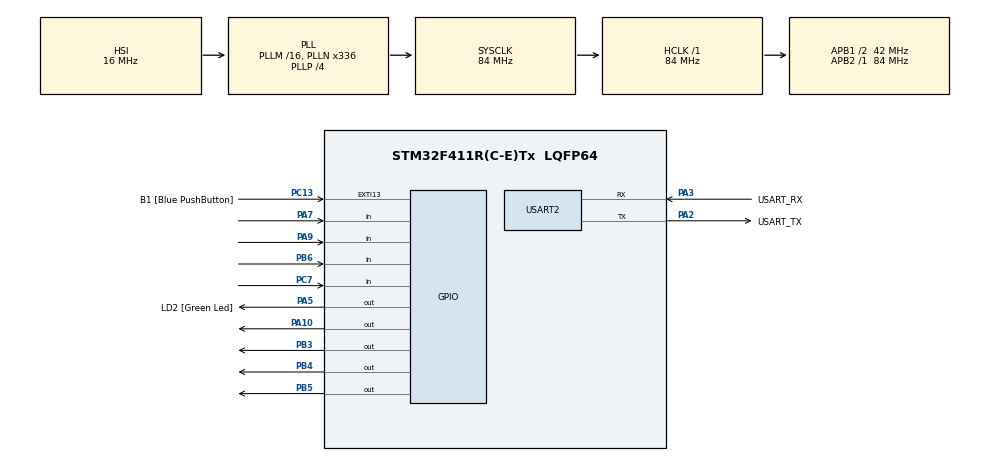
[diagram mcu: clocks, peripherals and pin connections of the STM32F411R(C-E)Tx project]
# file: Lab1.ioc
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Mcu.Family=STM32F4
Mcu.Name=STM32F411R(C-E)Tx
Mcu.Package=LQFP64
NVIC.PriorityGroup=NVIC_PRIORITYGROUP_0
PA10.Signal=GPIO_Output
PA13.GPIO_Label=TMS
PA13.Mode=Serial_Wire
PA13.Signal=SYS_JTMS-SWDIO
PA14.GPIO_Label=TCK
PA14.Mode=Serial_Wire
PA14.Signal=SYS_JTCK-SWCLK
PA2.GPIO_Label=USART_TX
PA2.Mode=Asynchronous
PA2.Signal=USART2_TX
PA3.GPIO_Label=USART_RX
PA3.Mode=Asynchronous
PA3.Signal=USART2_RX
PA5.GPIO_Label=LD2 [Green Led]
PA5.Signal=GPIO_Output
PA7.GPIO_PuPd=GPIO_PULLUP
PA7.Signal=GPIO_Input
PA9.GPIO_PuPd=GPIO_PULLUP
PA9.Signal=GPIO_Input
PB3.Signal=GPIO_Output
PB4.Signal=GPIO_Output
PB5.Signal=GPIO_Output
PB6.GPIO_PuPd=GPIO_PULLUP
PB6.Signal=GPIO_Input
PC13-ANTI_TAMP.GPIO_Label=B1 [Blue PushButton]
PC13-ANTI_TAMP.GPIO_ModeDefaultEXTI=GPIO_MODE_IT_FALLING
PC13-ANTI_TAMP.Signal=GPXTI13
PC14-OSC32_IN.Mode=LSE-External-Oscillator
PC14-OSC32_IN.Signal=RCC_OSC32_IN
PC15-OSC32_OUT.Mode=LSE-External-Oscillator
PC15-OSC32_OUT.Signal=RCC_OSC32_OUT
PC7.GPIO_PuPd=GPIO_PULLUP
PC7.Signal=GPIO_Input
PH0\ -\ OSC_IN.Mode=HSE-External-Clock-Source
PH0\ -\ OSC_IN.Signal=RCC_OSC_IN
PH1\ -\ OSC_OUT.Mode=HSE-External-Clock-Source
PH1\ -\ OSC_OUT.Signal=RCC_OSC_OUT
ProjectManager.HeapSize=0x200
ProjectManager.StackSize=0x400
ProjectManager.TargetToolchain=STM32CubeIDE
RCC.48MHZClocksFreq_Value=84000000
RCC.AHBFreq_Value=84000000
RCC.APB1CLKDivider=RCC_HCLK_DIV2
RCC.APB1Freq_Value=42000000
RCC.APB1TimFreq_Value=84000000
RCC.APB2Freq_Value=84000000
RCC.APB2TimFreq_Value=84000000
RCC.CortexFreq_Value=84000000
RCC.FLatency-AdvancedSettings=FLASH_LATENCY_2
RCC.HCLKFreq_Value=84000000
RCC.HSE_VALUE=8000000
RCC.HSI_VALUE=16000000
RCC.PLLN=336
RCC.PLLP=RCC_PLLP_DIV4
RCC.SYSCLKFreq_VALUE=84000000
RCC.SYSCLKSource=RCC_SYSCLKSOURCE_PLLCLK
RCC.VCOOutputFreq_Value=336000000
USART2.VirtualMode=VM_ASYNC
board=NUCLEO-F411RE

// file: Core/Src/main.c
/* USER CODE BEGIN Header */
/**
 ******************************************************************************
 * @file           : main.c
 * @brief          : Main program body
 ******************************************************************************
 Expand
 message.txt
 16 KB
 ﻿
 643405000XX#7985
 �?�
 /* USER CODE BEGIN Header */
/**
 ******************************************************************************
 * @file           : main.c
 * @brief          : Main program body
 ******************************************************************************
 * @attention
 *
 * Copyright (c) 2023 STMicroelectronics.
 * All rights reserved.
 *
 * This software is licensed under terms that can be found in the LICENSE file
 * in the root directory of this software component.
 * If no LICENSE file comes with this software, it is provided AS-IS.
 *
 ******************************************************************************
 */
/* USER CODE END Header */
#include "main.h"

UART_HandleTypeDef huart2;

/* USER CODE BEGIN PV */
typedef struct _PortPin {
	GPIO_TypeDef *PORT;
	uint16_t PIN;
} PortPin;

//declare PortPin R,L
PortPin R[4] = { { GPIOA, GPIO_PIN_10 }, { GPIOB, GPIO_PIN_3 }, { GPIOB,
		GPIO_PIN_5 }, { GPIOB, GPIO_PIN_4 } };

PortPin L[4] = { { GPIOA, GPIO_PIN_9 }, { GPIOC, GPIO_PIN_7 }, { GPIOB,
		GPIO_PIN_6 }, { GPIOA, GPIO_PIN_7 } };

uint16_t ButtonMatrix = 0;
uint16_t ButtonMatrix_L = 0;
int flag = 0;
int state = 0, state_L = 0;
/* USER CODE END PV */

void SystemClock_Config(void);
static void MX_GPIO_Init(void);
static void MX_USART2_UART_Init(void);
/* USER CODE BEGIN PFP */
void ReadMatrixButton_1Row();
/* USER CODE END PFP */

int main(void) {

	/* MCU Configuration--------------------------------------------------------*/

	/* Reset of all peripherals, Initializes the Flash interface and the Systick. */
	HAL_Init();

	/* Configure the system clock */
	SystemClock_Config();

	/* Initialize all configured peripherals */
	MX_GPIO_Init();
	MX_USART2_UART_Init();

	/* Infinite loop */
	while (1) {

		/* USER CODE BEGIN 3 */

		//rising edge
		if (ButtonMatrix_L == 0 && ButtonMatrix != 0) {
			flag = 1;
		} else {
			flag = 0;
		}
		ButtonMatrix_L = ButtonMatrix;

		switch (state) {
		case 0:
			HAL_GPIO_WritePin(GPIOA, GPIO_PIN_5, 0); //LEDoff
			if (flag) {
				if (ButtonMatrix == 512) {//6
					state = 1;
				}
				else if (ButtonMatrix == 4096) {//clear
					state = 0;
				}
				else if (ButtonMatrix == 8192) { //backspace
					state = 0;
				}
				else if (ButtonMatrix != 0 && ButtonMatrix != 32768
						&& ButtonMatrix != 128 && ButtonMatrix != 2048
						&& ButtonMatrix != 16384) {
					state = 12;
				}
				state_L = 0;
			}
			break;
		case 1:
			if (flag) {
				if (ButtonMatrix == 2) {//4
					state = 2;
				}
				else if (ButtonMatrix == 4096) {//clear
					state = 0;
				}
				else if (ButtonMatrix == 8192) {//backspace
					state = 0;
				}
				else if (ButtonMatrix != 0 && ButtonMatrix != 32768
						&& ButtonMatrix != 128 && ButtonMatrix != 2048
						&& ButtonMatrix != 16384) {
					state = 12;
				}
				state_L = 1;
			}
			break;
		case 2:
			if (flag) {
				if (ButtonMatrix == 1024) {//3
					state = 3;
				}
				else if (ButtonMatrix == 4096) { //clear
					state = 0;
				}
				else if (ButtonMatrix == 8192) {//backspace
					state = 1;
				}
				else if (ButtonMatrix != 0 && ButtonMatrix != 32768
						&& ButtonMatrix != 128 && ButtonMatrix != 2048
						&& ButtonMatrix != 16384) {
					state = 12;
				}
				state_L = 2;
			}
			break;
		case 3:
			if (flag) {
				if (ButtonMatrix == 2) {//4
					state = 4;
				}
				else if (ButtonMatrix == 4096) {//clear
					state = 0;
				}
				else if (ButtonMatrix == 8192) {//backspace
					state = 2;
				}
				else if (ButtonMatrix != 0 && ButtonMatrix != 32768
						&& ButtonMatrix != 128 && ButtonMatrix != 2048
						&& ButtonMatrix != 16384) {
					state = 12;
				}
				state_L = 3;
			}
			break;
		case 4:
			if (flag) {
				if (ButtonMatrix == 8) {//0
					state = 5;
				}
				else if (ButtonMatrix == 4096) {//clear
					state = 0;
				}
				else if (ButtonMatrix == 8192) { //backspace
					state = 3;
				}
				else if (ButtonMatrix != 0 && ButtonMatrix != 32768
						&& ButtonMatrix != 128 && ButtonMatrix != 2048
						&& ButtonMatrix != 16384) {
					state = 12;
				}
				state_L = 4;
			}
			break;
		case 5:
			if (flag) {
				if (ButtonMatrix == 32) {//5
					state = 6;
				}
				else if (ButtonMatrix == 4096) {//clear
					state = 0;
				}
				else if (ButtonMatrix == 8192) {//backspace
					state = 4;
				}
				else if (ButtonMatrix != 0 && ButtonMatrix != 32768
						&& ButtonMatrix != 128 && ButtonMatrix != 2048
						&& ButtonMatrix != 16384) {
					state = 12;
				}
				state_L = 5;
			}
			break;
		case 6:
			if (flag) {
				if (ButtonMatrix == 8) {//0
					state = 7;
				}
				else if (ButtonMatrix == 4096) { //clear
					state = 0;
				}
				else if (ButtonMatrix == 8192) {//backspace
					state = 5;
				}
				else if (ButtonMatrix != 0 && ButtonMatrix != 32768
						&& ButtonMatrix != 128 && ButtonMatrix != 2048
						&& ButtonMatrix != 16384) {
					state = 12;
				}
				state_L = 6;
			}
			break;
		case 7:
			if (flag) {
				if (ButtonMatrix == 8) {//0
					state = 8;
				}
				else if (ButtonMatrix == 4096) {//clear
					state = 0;
				}
				else if (ButtonMatrix == 8192) {//backspace
					state = 6;
				}
				else if (ButtonMatrix != 0 && ButtonMatrix != 32768
						&& ButtonMatrix != 128 && ButtonMatrix != 2048
						&& ButtonMatrix != 16384) {
					state = 12;
				}
				state_L = 7;
			}
			break;
		case 8:
			if (flag) {
				if (ButtonMatrix == 8) {//0
					state = 9;
				}
				else if (ButtonMatrix == 4096) {//clear
					state = 0;
				}
				else if (ButtonMatrix == 8192) {//backspace
					state = 7;
				}
				else if (ButtonMatrix != 0 && ButtonMatrix != 32768
						&& ButtonMatrix != 128 && ButtonMatrix != 2048
						&& ButtonMatrix != 16384) {
					state = 12;
				}
				state_L = 8;
			}
			break;
		case 9:
			if (flag) {
				if (ButtonMatrix == 64) {//2
					state = 10;
				}
				else if (ButtonMatrix == 4096) {//clear
					state = 0;
				}
				else if (ButtonMatrix == 8192) {//backspace
					state = 8;
				}
				else if (ButtonMatrix != 0 && ButtonMatrix != 32768
						&& ButtonMatrix != 128 && ButtonMatrix != 2048
						&& ButtonMatrix != 16384) {
					state = 12;
				}
				state_L = 9;
			}
			break;
		case 10:
			if (flag) {
				if (ButtonMatrix == 512) {//6
					state = 11;
				}
				else if (ButtonMatrix == 4096) {//clear
					state = 0;
				}
				else if (ButtonMatrix == 8192) {//backspace
					state = 9;
				}
				else if (ButtonMatrix != 0 && ButtonMatrix != 32768
						&& ButtonMatrix != 128 && ButtonMatrix != 2048
						&& ButtonMatrix != 16384) {
					state = 12;
				}
				state_L = 10;
			}
			break;
		case 11:
			if (flag) {
				if (ButtonMatrix == 32768) { //ok
					HAL_GPIO_WritePin(GPIOA, GPIO_PIN_5, 1); //LEDon
				} else if (ButtonMatrix == 4096) { //clear
					state = 0;
					HAL_GPIO_WritePin(GPIOA, GPIO_PIN_5, 0); //LEDoff
				} else if (ButtonMatrix == 8192) {
					state = 10; //backspace
					HAL_GPIO_WritePin(GPIOA, GPIO_PIN_5, 0);//LEDoff
				}
				else if (ButtonMatrix != 0 && ButtonMatrix != 32768
						&& ButtonMatrix != 128 && ButtonMatrix != 2048
						&& ButtonMatrix != 16384) {
					state = 12;
				}
				state_L = 11;
			}
			break;
		case 12:
			if (flag) {//wrong number
				if (ButtonMatrix == 4096) { //clear
					HAL_GPIO_WritePin(GPIOA, GPIO_PIN_5, 0); //LED1 off
					state = 0;
				} else if (ButtonMatrix == 8192) { //backspace
					state = state_L; //back to previous state
				}
			}
			break;
		}

		static uint32_t timestamp = 0;
		if (HAL_GetTick() >= timestamp) {
			timestamp = HAL_GetTick() + 100;
			ReadMatrixButton_1Row();
		}

	}
	/* USER CODE END 3 */
}

void SystemClock_Config(void) {
	RCC_OscInitTypeDef RCC_OscInitStruct = { 0 };
	RCC_ClkInitTypeDef RCC_ClkInitStruct = { 0 };

	/** Configure the main internal regulator output voltage
	 */
	__HAL_RCC_PWR_CLK_ENABLE();
	__HAL_PWR_VOLTAGESCALING_CONFIG(PWR_REGULATOR_VOLTAGE_SCALE1);

	/** Initializes the RCC Oscillators according to the specified parameters
	 * in the RCC_OscInitTypeDef structure.
	 */
	RCC_OscInitStruct.OscillatorType = RCC_OSCILLATORTYPE_HSI;
	RCC_OscInitStruct.HSIState = RCC_HSI_ON;
	RCC_OscInitStruct.HSICalibrationValue = RCC_HSICALIBRATION_DEFAULT;
	RCC_OscInitStruct.PLL.PLLState = RCC_PLL_ON;
	RCC_OscInitStruct.PLL.PLLSource = RCC_PLLSOURCE_HSI;
	RCC_OscInitStruct.PLL.PLLM = 16;
	RCC_OscInitStruct.PLL.PLLN = 336;
	RCC_OscInitStruct.PLL.PLLP = RCC_PLLP_DIV4;
	RCC_OscInitStruct.PLL.PLLQ = 4;
	if (HAL_RCC_OscConfig(&RCC_OscInitStruct) != HAL_OK) {
		Error_Handler();
	}

	/** Initializes the CPU, AHB and APB buses clocks
	 */
	RCC_ClkInitStruct.ClockType = RCC_CLOCKTYPE_HCLK | RCC_CLOCKTYPE_SYSCLK
			| RCC_CLOCKTYPE_PCLK1 | RCC_CLOCKTYPE_PCLK2;
	RCC_ClkInitStruct.SYSCLKSource = RCC_SYSCLKSOURCE_PLLCLK;
	RCC_ClkInitStruct.AHBCLKDivider = RCC_SYSCLK_DIV1;
	RCC_ClkInitStruct.APB1CLKDivider = RCC_HCLK_DIV2;
	RCC_ClkInitStruct.APB2CLKDivider = RCC_HCLK_DIV1;

	if (HAL_RCC_ClockConfig(&RCC_ClkInitStruct, FLASH_LATENCY_2) != HAL_OK) {
		Error_Handler();
	}
}

static void MX_USART2_UART_Init(void) {

	huart2.Instance = USART2;
	huart2.Init.BaudRate = 115200;
	huart2.Init.WordLength = UART_WORDLENGTH_8B;
	huart2.Init.StopBits = UART_STOPBITS_1;
	huart2.Init.Parity = UART_PARITY_NONE;
	huart2.Init.Mode = UART_MODE_TX_RX;
	huart2.Init.HwFlowCtl = UART_HWCONTROL_NONE;
	huart2.Init.OverSampling = UART_OVERSAMPLING_16;
	if (HAL_UART_Init(&huart2) != HAL_OK) {
		Error_Handler();
	}

}

static void MX_GPIO_Init(void) {
	GPIO_InitTypeDef GPIO_InitStruct = { 0 };

	/* GPIO Ports Clock Enable */
	__HAL_RCC_GPIOC_CLK_ENABLE();
	__HAL_RCC_GPIOH_CLK_ENABLE();
	__HAL_RCC_GPIOA_CLK_ENABLE();
	__HAL_RCC_GPIOB_CLK_ENABLE();

	/*Configure GPIO pin Output Level */
	HAL_GPIO_WritePin(GPIOA, LD2_Pin | GPIO_PIN_10, GPIO_PIN_RESET);

	/*Configure GPIO pin Output Level */
	HAL_GPIO_WritePin(GPIOB, GPIO_PIN_3 | GPIO_PIN_4 | GPIO_PIN_5,
			GPIO_PIN_RESET);

	/*Configure GPIO pin : B1_Pin */
	GPIO_InitStruct.Pin = B1_Pin;
	GPIO_InitStruct.Mode = GPIO_MODE_IT_FALLING;
	GPIO_InitStruct.Pull = GPIO_NOPULL;
	HAL_GPIO_Init(B1_GPIO_Port, &GPIO_InitStruct);

	/*Configure GPIO pins : LD2_Pin PA10 */
	GPIO_InitStruct.Pin = LD2_Pin | GPIO_PIN_10;
	GPIO_InitStruct.Mode = GPIO_MODE_OUTPUT_PP;
	GPIO_InitStruct.Pull = GPIO_NOPULL;
	GPIO_InitStruct.Speed = GPIO_SPEED_FREQ_LOW;
	HAL_GPIO_Init(GPIOA, &GPIO_InitStruct);

	/*Configure GPIO pins : PA7 PA9 */
	GPIO_InitStruct.Pin = GPIO_PIN_7 | GPIO_PIN_9;
	GPIO_InitStruct.Mode = GPIO_MODE_INPUT;
	GPIO_InitStruct.Pull = GPIO_PULLUP;
	HAL_GPIO_Init(GPIOA, &GPIO_InitStruct);

	/*Configure GPIO pin : PC7 */
	GPIO_InitStruct.Pin = GPIO_PIN_7;
	GPIO_InitStruct.Mode = GPIO_MODE_INPUT;
	GPIO_InitStruct.Pull = GPIO_PULLUP;
	HAL_GPIO_Init(GPIOC, &GPIO_InitStruct);

	/*Configure GPIO pins : PB3 PB4 PB5 */
	GPIO_InitStruct.Pin = GPIO_PIN_3 | GPIO_PIN_4 | GPIO_PIN_5;
	GPIO_InitStruct.Mode = GPIO_MODE_OUTPUT_PP;
	GPIO_InitStruct.Pull = GPIO_NOPULL;
	GPIO_InitStruct.Speed = GPIO_SPEED_FREQ_LOW;
	HAL_GPIO_Init(GPIOB, &GPIO_InitStruct);

	/*Configure GPIO pin : PB6 */
	GPIO_InitStruct.Pin = GPIO_PIN_6;
	GPIO_InitStruct.Mode = GPIO_MODE_INPUT;
	GPIO_InitStruct.Pull = GPIO_PULLUP;
	HAL_GPIO_Init(GPIOB, &GPIO_InitStruct);

}

/* USER CODE BEGIN 4 */
void ReadMatrixButton_1Row() {
	static uint8_t X = 0;
	register int i;
	for (i = 0; i < 4; i++) {
		if (HAL_GPIO_ReadPin(L[i].PORT, L[i].PIN)) {
			ButtonMatrix &= ~(1 << (X * 4 + i));
		} else {
			ButtonMatrix |= 1 << (X * 4 + i);
		}
	}
	HAL_GPIO_WritePin(R[X].PORT, R[X].PIN, 1);
	HAL_GPIO_WritePin(R[(X + 1) % 4].PORT, R[(X + 1) % 4].PIN, 0);
	X++;
	X %= 4;
}
/* USER CODE END 4 */

void Error_Handler(void) {
	__disable_irq();
	while (1) {
	}
}
